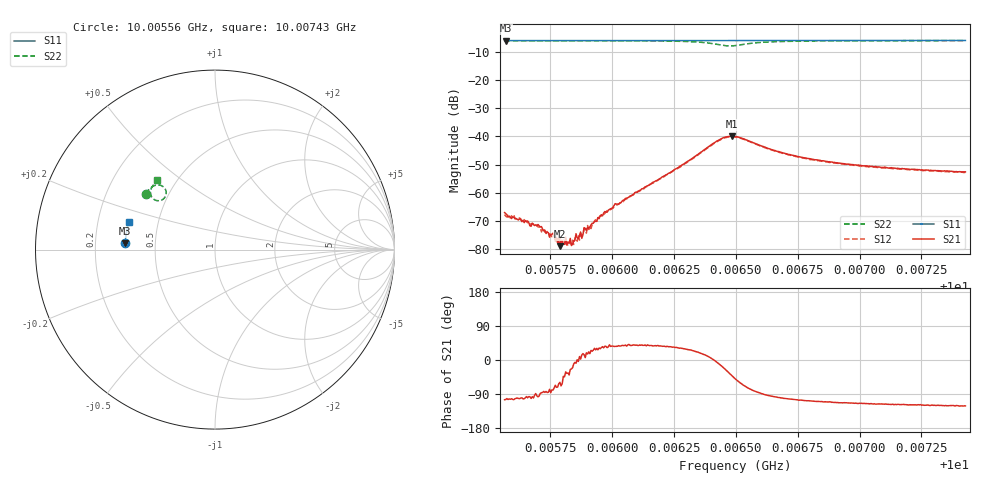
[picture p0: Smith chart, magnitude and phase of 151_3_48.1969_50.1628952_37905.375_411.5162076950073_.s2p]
#  HZ  S  RI  R  50.00
! Rohde & Schwarz Vector Network Analyzer
! Rohde-Schwarz,ZNB20-2Port,1311601062101988,3.16
! Created: UTC 3/20/2024, 11:42:50 AM
! freq[Hz]  re:S11  im:S11  re:S21  im:S21  re:S12  im:S12  re:S22  im:S22
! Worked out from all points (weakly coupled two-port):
!   401 points, 10.00556 GHz to 10.00743 GHz, reference 50 ohm
!   highest |S21| = -39.89 dB at 10.00648 GHz (marker M1); lowest = -78.9 dB at 10.00579 GHz (marker M2)
!   lowest |S11| = -6.0 dB at 10.00557 GHz (marker M3), VSWR 3.01, Z = 16.7 + j1.53 ohm
!   |S11| at or under -10 dB: nowhere
!   |S22| runs from -7.9 to -6.0 dB; largest |S21 - S12| = 0.00061
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1.0005565e10  -0.4997 0.0342  -0.000113 -0.000431  -6.48e-05 -0.000408  -0.3872 0.3113
1.0005569e10  -0.4995 0.0345  -0.000105 -0.000414  -6.28e-05 -0.000379  -0.3871 0.3115
1.0005588e10  -0.4996 0.0358  -8.65e-05 -0.000356  -7.07e-05 -0.000356  -0.3862 0.3128
1.0005649e10  -0.4994 0.0397  -5.37e-05 -0.000315  -2.06e-05 -0.000317  -0.3835 0.3163
1.0005677e10  -0.4992 0.0415  -3.39e-05 -0.000288  -1.33e-05 -0.000281  -0.382 0.3182
1.0005704e10  -0.499 0.0434  -2.15e-05 -0.000259  1.26e-05 -0.000245  -0.3808 0.3197
1.0005765e10  -0.4989 0.0473  4.87e-05 -0.000168  3.93e-05 -0.00017  -0.3776 0.3236
1.0005788e10  -0.499 0.0488  5.85e-05 -9.69e-05  6.44e-05 -0.000144  -0.3765 0.3249
1.0005821e10  -0.4987 0.0509  0.000111 -7.56e-05  9.42e-05 -7.34e-05  -0.3745 0.327
1.0005826e10  -0.4986 0.0513  9.73e-05 -8.06e-05  0.000116 -5.41e-05  -0.3743 0.3273
1.000584e10  -0.4986 0.0522  0.000115 -4.3e-05  0.000137 -4.53e-05  -0.3736 0.3282
1.0005877e10  -0.4983 0.0546  0.000151 3.61e-05  0.000177 3.74e-05  -0.3716 0.3306
1.0005951e10  -0.498 0.0594  0.000338 0.000194  0.000336 0.000199  -0.3669 0.3357
1.0006012e10  -0.4977 0.0633  0.00052 0.000377  0.000456 0.000372  -0.3626 0.3398
1.0006189e10  -0.4963 0.0747  0.00139 0.00105  0.00135 0.00107  -0.3449 0.3531
1.0006422e10  -0.4935 0.0898  0.00819 -0.000753  0.008 -0.000302  -0.2749 0.3319
1.0006482e10  -0.4928 0.093  0.00767 -0.00661  0.00787 -0.00606  -0.2902 0.2802
1.0006496e10  -0.4927 0.0936  0.00655 -0.00758  0.0068 -0.00703  -0.3024 0.274
1.0006659e10  -0.492 0.104  -0.00072 -0.00556  -0.000414 -0.00546  -0.36 0.3173
1.0006808e10  -0.4902 0.1137  -0.00123 -0.0037  -0.00103 -0.00377  -0.3541 0.3426
1.000712e10  -0.4859 0.1334  -0.00125 -0.00245  -0.0011 -0.00251  -0.3366 0.3685
1.0007428e10  -0.4809 0.1526  -0.00122 -0.00202  -0.00109 -0.00204  -0.3205 0.3857
